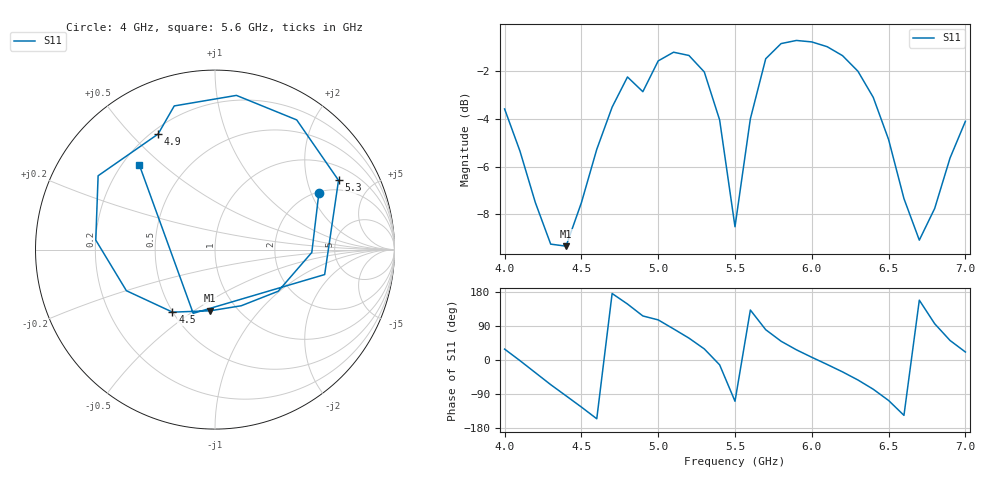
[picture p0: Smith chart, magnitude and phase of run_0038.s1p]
! Touchstone file exported from HFSS 2024.2.0
!  File:  C:/Users/wsak9/Desktop/Sim Fast/Widenad Patch/WP_AI_V1_sweep.aedt
!  Generated:  04:22:49 PM Oct 13, 2026
!  Design:  A1_model
!  Project:  WP_AI_V1_sweep
!  Setup:  Setup1
!  Solution:  Sweep
! Variables:
!  Air_gap = 2.05mm
!  Curve_Amp1 = 3.1
!  Curve_len1 = 1
!  Curve_pos = 10.67mm
!  Extra = 7.26mm
!  H_sub = 0.79mm
!  L_Patch = 17.34mm
!  L_Patch1 = 23.05mm
!  Sx = 1.37mm
!  Sy = 4.92mm
!  WS = 0.95mm
!  W_Patch = 13.16mm
!  W_Patch1 = 15.79mm
!Data is not renormalized
# GHz S MA
! Terminal data exported
! Port[1] = 1
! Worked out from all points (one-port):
!   31 points, 4 GHz to 7 GHz, reference per port
!   lowest |S11| = -9.3 dB at 4.4 GHz (marker M1), VSWR 2.04
!   |S11| at or under -10 dB: nowhere
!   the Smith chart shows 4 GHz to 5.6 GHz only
!   S11 on the Smith chart (normalised r, x): 4 GHz: 2.03, +2.29; 4.5 GHz: 0.50, -0.42; 4.9 GHz: 0.23, +0.60; 5.3 GHz: 1.53, +3.14; 5.6 GHz: 0.27, +0.42
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4  0.6606 28.8
4.1  0.5396 -1.7
4.2  0.4217 -33.4
4.4  0.342 -94.5
4.5  0.4213 -124.2
4.6  0.5443 -155.1
4.7  0.6664 175.4
4.8  0.7702 147.7
4.9  0.7177 116.2
5  0.832 105.8
5.1  0.8674 82.1
5.2  0.854 57.8
5.3  0.7891 29.3
5.4  0.6266 -12.8
5.5  0.3754 -108.9
5.6  0.6301 131.9
5.7  0.8406 79.9
5.8  0.9041 49.5
5.9  0.9178 26.9
6.1  0.8907 -11.8
6.3  0.792 -52.7
6.4  0.6985 -77.1
6.5  0.5705 -106.8
6.6  0.4297 -146.1
6.7  0.352 157.9
6.8  0.4098 95.7
6.9  0.522 51.6
7  0.6226 21.1
